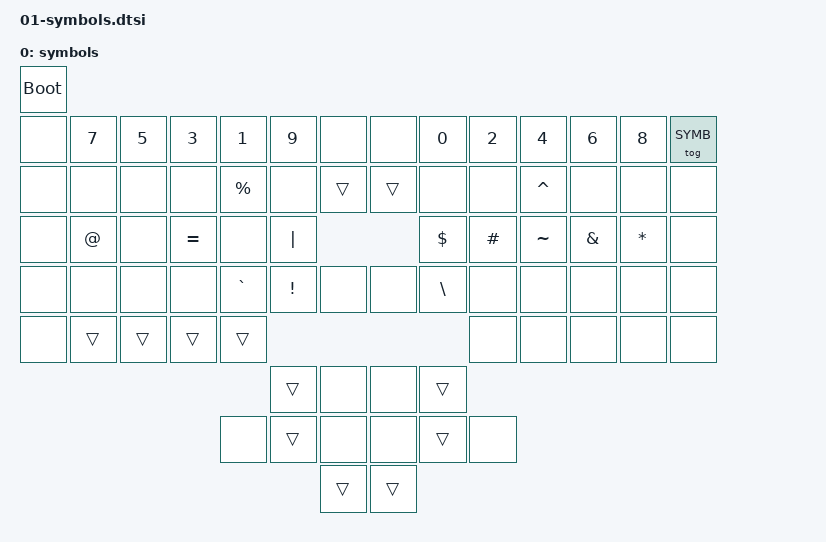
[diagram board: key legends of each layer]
/ {
  keymap {
    compatible = "zmk,keymap";

    // https://zmk.dev/docs/codes

    symbols { // SYMB
      bindings = <
        &bootloader
        &none        &kp N7       &kp N5       &kp N3       &kp N1        &kp N9          &none              &none           &kp N0        &kp N2       &kp N4       &kp N6       &kp N8        &tog SYMB
        &none        &none        &none        &none        &kp PERCENT   &none           &trans             &trans          &none         &none        &kp CARET    &none        &none         &none
        &none        &kp AT       &none        &kp EQUAL    &none         &kp PIPE                                           &kp DOLLAR    &kp HASH     &kp TILDE    &kp AMPS     &kp ASTRK     &none
        &none        &none        &none        &none        &kp GRAVE     &kp EXCL        &none              &none           &kp BACKSLASH &none        &none        &none        &none         &none
        &none        &trans       &trans       &trans       &trans                                                                         &none        &none        &none        &none         &none
                                                                          &trans          &none              &none           &trans
                                                            &none         &trans          &none              &none           &trans        &none
                                                                                          &trans             &trans
      >;
    };
  };
};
